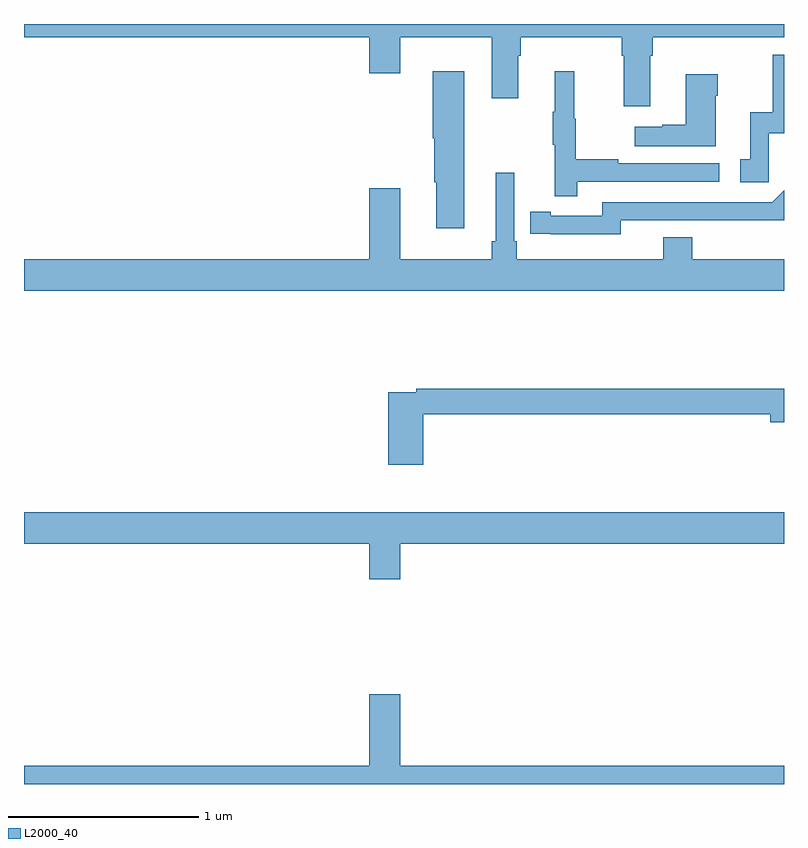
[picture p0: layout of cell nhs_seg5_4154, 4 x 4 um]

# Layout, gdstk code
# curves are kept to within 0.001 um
import gdstk
lib = gdstk.Library(unit=1e-6, precision=1e-09)
def P(c, l, *ps):  # polygons
    for p in ps: c.add(gdstk.Polygon(p, *l))
L2000_40 = (2000, 40)

nhs_seg5_4154 = lib.new_cell('nhs_seg5_4154')
P(nhs_seg5_4154, L2000_40, [(358.297,888.632),(358.31,888.632),(358.31,888.728),(359,888.728),(359,888.799),(355,888.799),(355,888.728),(356.816,888.728),(356.816,888.54),(356.98,888.54),(356.98,888.728),(357.461,888.728),(357.461,888.408),(357.601,888.408),(357.601,888.632),(357.614,888.632),(357.614,888.728),(358.145,888.728),(358.145,888.632),(358.157,888.632),(358.157,888.366),(358.297,888.366)],
  [(358.92,888.225),(359,888.225),(359,888.636),(358.941,888.636),(358.941,888.334),(358.823,888.334),(358.823,888.087),(358.77,888.087),(358.77,887.967),(358.92,887.967)],
  [(357.316,888.55),(357.152,888.55),(357.152,888.198),(357.158,888.198),(357.158,887.967),(357.17,887.967),(357.17,887.724),(357.316,887.724)],
  [(357.911,887.97),(358.66,887.97),(358.66,888.066),(358.127,888.066),(358.127,888.086),(357.904,888.086),(357.904,888.3),(357.896,888.3),(357.896,888.55),(357.794,888.55),(357.794,888.337),(357.783,888.337),(357.783,888.163),(357.794,888.163),(357.794,887.892),(357.911,887.892)],
  [(358.642,888.422),(358.65,888.422),(358.65,888.535),(358.484,888.535),(358.484,888.269),(358.358,888.269),(358.358,888.259),(358.215,888.259),(358.215,888.155),(358.642,888.155)],
  [(359,887.56),(358.517,887.56),(358.517,887.677),(358.364,887.677),(358.364,887.56),(357.593,887.56),(357.593,887.656),(357.579,887.656),(357.579,888.016),(357.482,888.016),(357.482,887.656),(357.463,887.656),(357.463,887.56),(356.98,887.56),(356.98,887.935),(356.816,887.935),(356.816,887.56),(355,887.56),(355,887.396),(359,887.396)],
  [(358.14,887.766),(359,887.765),(359,887.924),(358.938,887.862),(358.044,887.862),(358.044,887.79),(357.772,887.79),(357.772,887.81),(357.664,887.81),(357.664,887.694),(358.14,887.693)],
  [(357.101,886.744),(358.928,886.744),(358.928,886.702),(359,886.702),(359,886.88),(357.064,886.88),(357.064,886.86),(356.918,886.86),(356.918,886.479),(357.101,886.479)],
  [(356.98,886.064),(359,886.064),(359,886.228),(355,886.228),(355,886.064),(356.816,886.064),(356.816,885.876),(356.98,885.876)],
  [(359,884.896),(356.98,884.896),(356.98,885.271),(356.816,885.271),(356.816,884.896),(355,884.896),(355,884.799),(359,884.799)])

lib.write_gds('nhs_seg5_4154.gds')
